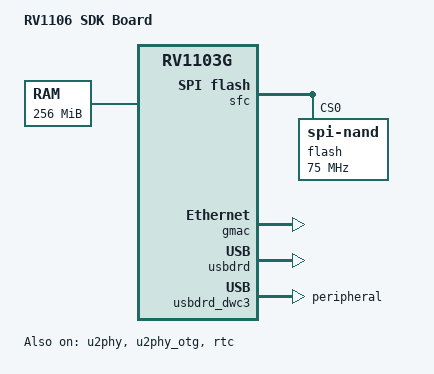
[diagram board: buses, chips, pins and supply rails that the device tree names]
// SPDX-License-Identifier: (GPL-2.0+ OR MIT)
/*
 * Copyright (c) 2022 Rockchip Electronics Co., Ltd.
 */

/dts-v1/;

#include "rv1106.dtsi"
#include "rv1106-evb.dtsi"
#include "rv1106-sdk-ipc.dtsi"

/ {
	model = "RV1106 SDK Board";
	compatible = "rockchip,rv1103g-38x38-ipc-v10", "rockchip,rv1106g3";

	/* Explicit memory node, Luckfox thunder-boot style (theirs lives in
	 * rv1106-thunder-boot.dtsi). Without it the kernel depends entirely on
	 * the U-Boot memory fixup; if that doesn't land, memblock comes up
	 * empty and paging_init panics on the first early_alloc. U-Boot still
	 * fixes up the real size at boot. */
	memory {
		device_type = "memory";
		reg = <0x00000000 0x10000000>;
	};

	chosen {
		bootargs = "earlyprintk earlycon=uart8250,mmio32,0xff4c0000 console=ttyFIQ0 clk_ignore_unused";
	};
};

/**********CRU**********/
//&cru {
//	assigned-clocks =
//		<&cru PLL_GPLL>, <&cru PLL_CPLL>,
//		<&cru ARMCLK>,
//		<&cru ACLK_PERI_ROOT>, <&cru HCLK_PERI_ROOT>,
//		<&cru PCLK_PERI_ROOT>, <&cru ACLK_BUS_ROOT>,
//		<&cru PCLK_TOP_ROOT>, <&cru PCLK_PMU_ROOT>,
//		<&cru HCLK_PMU_ROOT>, <&cru CLK_500M_SRC>;
//	assigned-clock-rates =
//		<1188000000>, <700000000>,
//		<1104000000>,
//		<400000000>, <200000000>,
//		<100000000>, <300000000>,
//		<100000000>, <100000000>,
//		<200000000>, <700000000>;
//};

/**********NPU**********/
//&npu {
//	assigned-clock-rates = <700000000>;
//};

/**********FLASH**********/
&sfc {
	status = "okay";
	flash@0 {
		compatible = "spi-nand";
		reg = <0>;
		spi-max-frequency = <75000000>;
		spi-rx-bus-width = <4>;
		spi-tx-bus-width = <1>;
	};
};

/**********SDMMC (disabled - SPI NAND only)**********/
&sdmmc {
	status = "disabled";
};

/**********ETH**********/
&gmac {
	status = "okay";
};

/**********USB**********/
&u2phy {
	status = "okay";
};

&u2phy_otg {
	rockchip,dis-u2-susphy;
	status = "okay";
};

&usbdrd {
	status = "okay";
};

&usbdrd_dwc3 {
	status = "okay";
	dr_mode = "peripheral";
};

/* SX1262 radios (spi0/spi1 enable + conflicting-peripheral disables) live in
 * rv1106-sdk-ipc.dtsi, next to the sx1262@0 nodes. */

/**********I2C**********/
/* I2C3_M1 */
&i2c3 {
	status = "disabled";
	clock-frequency = <100000>;
};

/* I2C1_M1 */
&i2c1 {
	status = "disabled";
	clock-frequency = <100000>;
};



/**********RTC**********/
&rtc {
	status = "okay";
};
